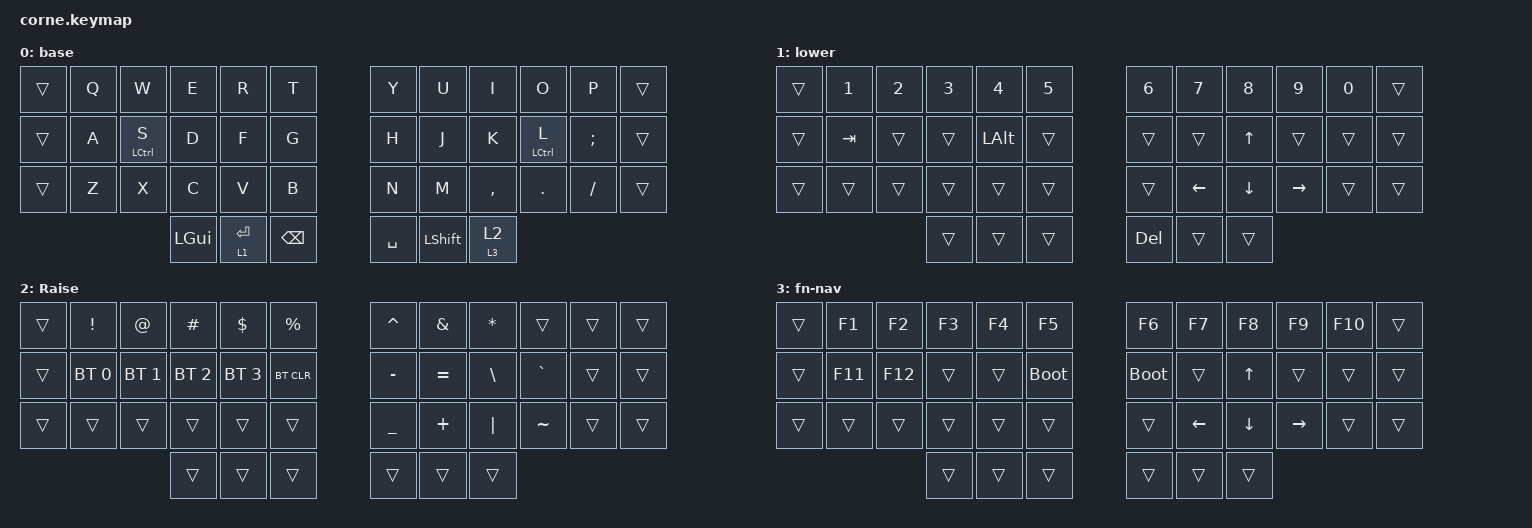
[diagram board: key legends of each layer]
/*
 * Copyright (c) 2020 The ZMK Contributors
 *
 * SPDX-License-Identifier: MIT
 */

#include <behaviors.dtsi>
#include <dt-bindings/zmk/bt.h>
#include <dt-bindings/zmk/keys.h>
#include "zmk-helpers/helper.h"
#include "zmk-helpers/key-labels/36.h"                                      // Source key-labels.

#define KEYS_L LT0 LT1 LT2 LT3 LT4 LM0 LM1 LM2 LM3 LM4 LB0 LB1 LB2 LB3 LB4  // Left-hand keys.
#define KEYS_R RT0 RT1 RT2 RT3 RT4 RM0 RM1 RM2 RM3 RM4 RB0 RB1 RB2 RB3 RB4  // Right-hand keys.
#define THUMBS LH2 LH1 LH0 RH0 RH1 RH2                                      // Thumb keys.

/ {
    behaviors {
        /* Left-hand HRMs. */

        hml: hml {
            compatible = "zmk,behavior-hold-tap";
            label = "HML";
            #binding-cells = <2>;
            flavor = "balanced";
            tapping-term-ms = <280>;
            quick-tap-ms = <175>;
            require-prior-idle-ms = <150>;
            bindings = <&kp>, <&kp>;

            hold-trigger-key-positions = <KEYS_R THUMBS>;
            hold-trigger-on-release;
        };

        /* Right-hand HRMs. */

        hmr: hmr {
            compatible = "zmk,behavior-hold-tap";
            label = "HMR";
            #binding-cells = <2>;
            flavor = "balanced";
            tapping-term-ms = <280>;
            quick-tap-ms = <175>;
            require-prior-idle-ms = <150>;
            bindings = <&kp>, <&kp>;

            hold-trigger-key-positions = <KEYS_L THUMBS>;
            hold-trigger-on-release;
        };

        sh: sticky_hold {
            compatible = "zmk,behavior-hold-tap";
            label = "SH";
            bindings = <&mo>, <&sl>;

            #binding-cells = <2>;
            tapping-term-ms = <300>;
            quick-tap-ms = <0>;
            flavor = "tap-preferred";
        };
    };

    combos {
        compatible = "zmk,combos";

        par1 {
            bindings = <&kp LEFT_PARENTHESIS>;
            key-positions = <3 4>;
            layers = <0>;
        };

        par2 {
            bindings = <&kp RIGHT_PARENTHESIS>;
            key-positions = <7 8>;
            layers = <0>;
        };

        cur1 {
            bindings = <&kp LEFT_BRACE>;
            key-positions = <27 28>;
            layers = <0>;
        };

        cur2 {
            bindings = <&kp RIGHT_BRACE>;
            key-positions = <31 32>;
            layers = <0>;
        };

        bracket1 {
            bindings = <&kp LEFT_BRACKET>;
            key-positions = <15 16>;
            layers = <0>;
        };

        bracket2 {
            bindings = <&kp RIGHT_BRACKET>;
            key-positions = <20 19>;
            layers = <0>;
        };

        esc {
            bindings = <&kp ESCAPE>;
            key-positions = <1 2>;
            layers = <0>;
        };

        quotes {
            bindings = <&kp SINGLE_QUOTE>;
            key-positions = <22 21>;
            layers = <0>;
        };

        enter {
            bindings = <&kp ENTER>;
            key-positions = <19 20 21>;
            layers = <0>;
        };

        lower {
            bindings = <&mo 1>;
            key-positions = <32 33 31>;
            layers = <0>;
        };

        shift {
            bindings = <&kp LEFT_SHIFT>;
            key-positions = <14 15 16>;
            layers = <0>;
        };

        alt {
            bindings = <&kp LALT>;
            key-positions = <28 27 26>;
            layers = <0>;
        };
    };

    keymap {
        compatible = "zmk,keymap";

        base {
            bindings = <
&trans  &kp Q  &kp W         &kp E     &kp R        &kp T            &kp Y      &kp U           &kp I      &kp O         &kp P     &trans
&trans  &kp A  &hml LCTRL S  &kp D     &kp F        &kp G            &kp H      &kp J           &kp K      &hmr LCTRL L  &kp SEMI  &trans
&trans  &kp Z  &kp X         &kp C     &kp V        &kp B            &kp N      &kp M           &kp COMMA  &kp DOT       &kp FSLH  &trans
                             &kp LGUI  &lt 1 ENTER  &kp BACKSPACE    &kp SPACE  &kp LEFT_SHIFT  &sh 3 2
            >;
        };

        lower {
            bindings = <
&trans  &kp N1   &kp N2  &kp N3  &kp N4        &kp N5    &kp N6   &kp N7    &kp N8    &kp N9     &kp N0  &trans
&trans  &kp TAB  &trans  &trans  &kp LEFT_ALT  &trans    &trans   &trans    &kp UP    &trans     &trans  &trans
&trans  &trans   &trans  &trans  &trans        &trans    &trans   &kp LEFT  &kp DOWN  &kp RIGHT  &trans  &trans
                         &trans  &trans        &trans    &kp DEL  &trans    &trans
            >;
        };

        upper {
            display-name = "Raise";
            bindings = <
&trans  &kp EXCL      &kp AT        &kp HASH      &kp DLLR      &kp PRCNT     &kp CARET  &kp AMPS   &kp ASTERISK  &trans     &trans  &trans
&trans  &bt BT_SEL 0  &bt BT_SEL 1  &bt BT_SEL 2  &bt BT_SEL 3  &bt BT_CLR    &kp MINUS  &kp EQUAL  &kp BSLH      &kp GRAVE  &trans  &trans
&trans  &trans        &trans        &trans        &trans        &trans        &kp UNDER  &kp PLUS   &kp PIPE      &kp TILDE  &trans  &trans
                                    &trans        &trans        &trans        &trans     &trans     &trans
            >;
        };

        fn-nav {
            bindings = <
&trans  &kp F1   &kp F2   &kp F3  &kp F4  &kp F5         &kp F6       &kp F7    &kp F8    &kp F9     &kp F10  &trans
&trans  &kp F11  &kp F12  &trans  &trans  &bootloader    &bootloader  &trans    &kp UP    &trans     &trans   &trans
&trans  &trans   &trans   &trans  &trans  &trans         &trans       &kp LEFT  &kp DOWN  &kp RIGHT  &trans   &trans
                          &trans  &trans  &trans         &trans       &trans    &trans
            >;
        };
    };
};
